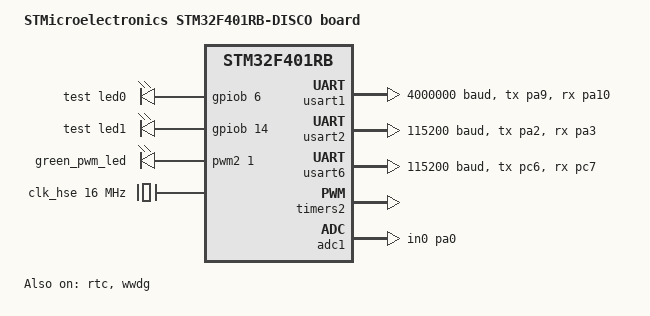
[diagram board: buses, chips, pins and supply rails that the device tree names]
/*
 * Copyright (c) 2017 Linaro Limited
 * Copyright (c) 2019 Centaur Analytics, Inc
 *
 * SPDX-License-Identifier: Apache-2.0
 */

/dts-v1/;
#include <st/f4/stm32f401Xb.dtsi>
#include <st/f4/stm32f401r(b-c)tx-pinctrl.dtsi>

/ {
	model = "STMicroelectronics STM32F401RB-DISCO board";
	compatible = "st,stm32f401rb-disco";

	chosen {
		zephyr,console = &usart2;
		zephyr,shell-uart = &usart2;
		zephyr,sram = &sram0;
		zephyr,flash = &flash0;
		zephyr,code-partition = &slot0_partition;
		/* other chosen settings  for your hardware */
	};

	/*
    * Your board-specific hardware: buttons, LEDs, sensors, etc.
    */

	leds {
		compatible = "gpio-leds";
		led0: led_0 {
			gpios = <&gpiob 6 GPIO_ACTIVE_HIGH>;
			label = "test led0";
		};
		led1: led_1 {
			gpios = <&gpiob 14 GPIO_ACTIVE_HIGH>;
			label = "test led1";
		};
	};

	pwmleds {
		compatible = "pwm-leds";
		green_pwm_led: green_pwm_led {
			pwms = <&pwm2 1 0 PWM_POLARITY_NORMAL>;
		};
	};

	gpio_keys {
		compatible = "gpio-keys";
	};

	/* These aliases are provided for compatibility with samples */
	aliases {
		led0 = &led0;
		led1 = &led1;
		pwm-led0 = &green_pwm_led;
	};
};

/* Clock Setup (cross-ref with stm32cubemx) */

&clk_hse {
	//hse-bypass;
	clock-frequency = <DT_FREQ_M(16)>; /* STLink 8MHz clock */
	status = "okay";
};

&pll {
	div-m = <8>;
	mul-n = <84>;
	div-p = <2>;
	div-q = <4>;
	clocks = <&clk_hse>;
	status = "okay";
};

&rcc {
	clocks = <&pll>;
	clock-frequency = <DT_FREQ_M(84)>;
	ahb-prescaler = <1>;
	apb1-prescaler = <2>;
	apb2-prescaler = <1>;
};

/* EEPROM flash setup */

&flash0 {

	partitions {
		compatible = "fixed-partitions";
		#address-cells = <1>;
		#size-cells = <1>;

		boot_partition: partition@0 {
			label = "mcuboot";
			reg = <0x00000000 0x00010000>;
			read-only;
		};

		/*
		 * The flash starting at offset 0x10000 and ending at
		 * offset 0x1ffff is reserved for use by the application.
		 */
		slot0_partition: partition@20000 {
			label = "image-0";
			reg = <0x00020000 0x00020000>;
		};
		slot1_partition: partition@40000 {
			label = "image-1";
			reg = <0x00040000 0x00020000>;
		};
		scratch_partition: partition@60000 {
			label = "image-scratch";
			reg = <0x00060000 0x00020000>;
		};
	};
};

/* Peripherals you want to enable like a GPIO or SPI controller */

/* UART Backplane */
&usart1 {
	pinctrl-0 = <&usart1_tx_pa9 &usart1_rx_pa10>;
	current-speed = <4000000>;
	status = "okay";
};

/* UART Ext 1 */
&usart2 {
	pinctrl-0 = <&usart2_tx_pa2 &usart2_rx_pa3>;
	current-speed = <115200>;
	dmas = <&dma1 5 1 0x30040 0x3>,
			<&dma1 6 1 0x30080 0x3>;
	dma-names = "tx", "rx";
	status = "okay";
};

/* UART Ext 2 */
&usart6 {
	pinctrl-0 = <&usart6_tx_pc6 &usart6_rx_pc7>;
	current-speed = <115200>;
	dmas = <&dma2 1 1 0x30040 0x3>,
			<&dma2 6 1 0x30080 0x3>;
	dma-names = "tx", "rx";
	status = "okay";
};

&timers2 {
	status = "okay";

	pwm2: pwm {
		status = "okay";
		pinctrl-0 = <&tim2_ch1_pa5>;
	};
};

&rtc {
	status = "okay";
};

&adc1 {
	pinctrl-0 = <&adc1_in0_pa0>;
	status = "okay";
};

&wwdg {
	status = "okay";
};

&dma1 {
	status = "okay";
};

&dma2 {
	status = "okay";
};
